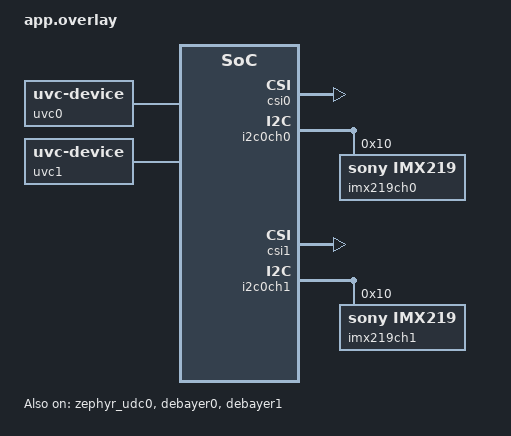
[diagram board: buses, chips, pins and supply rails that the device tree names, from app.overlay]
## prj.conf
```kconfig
CONFIG_MINIMAL_LIBC=y
CONFIG_ASSERT=y
CONFIG_SERIAL=y

# SHELL
CONFIG_SHELL=y
CONFIG_I2C_SHELL=y
CONFIG_VIDEO_SHELL=y
CONFIG_KERNEL_SHELL=y
CONFIG_SHELL_BACKEND_SERIAL_API_INTERRUPT_DRIVEN=y
CONFIG_SHELL_BACKEND_SERIAL_TX_RING_BUFFER_SIZE=64

# USB
CONFIG_UDC_DRIVER=y
CONFIG_USB_DEVICE_STACK_NEXT=y
CONFIG_USBD_VIDEO_CLASS=y

# VIDEO
CONFIG_VIDEO=y
CONFIG_VIDEO_BUFFER_POOL_SZ_MAX=4096
CONFIG_VIDEO_BUFFER_POOL_NUM_MAX=1

# I2C
# To support both addon adapter boards with the same firmware.
CONFIG_I2C_PCA9542A_IGNORE_FAILURE=y

# LOG
CONFIG_LOG=y
CONFIG_LOG_MODE_MINIMAL=y
CONFIG_UDC_DRIVER_LOG_LEVEL_INF=y
CONFIG_USBD_LOG_LEVEL_INF=y
CONFIG_USBD_VIDEO_LOG_LEVEL_INF=y
CONFIG_VIDEO_LOG_LEVEL_DBG=y
```

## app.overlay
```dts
/*
 * Copyright (c) 2025 tinyVision.ai Inc.
 *
 * SPDX-License-Identifier: Apache-2.0
 */

#include <riscv/tinyvision/from_csi0_to_stats0.dtsi>
#include <riscv/tinyvision/from_csi0_to_debayer0.dtsi>
#include <riscv/tinyvision/from_debayer0_to_uvcmanager0.dtsi>

#include <riscv/tinyvision/from_csi1_to_stats1.dtsi>
#include <riscv/tinyvision/from_csi1_to_debayer1.dtsi>
#include <riscv/tinyvision/from_debayer1_to_uvcmanager1.dtsi>

#include <riscv/tinyvision/add_i2c0_pll.dtsi>
#include <riscv/tinyvision/add_i2c0_multiplexer.dtsi>

/* USB interfaces */

&zephyr_udc0 {
	num-in-endpoints = <3>;
	num-out-endpoints = <1>;
	status = "okay";

	uvc0: uvc0 {
		compatible = "zephyr,uvc-device";
		interface-name = "tinyCLUNX33-IMX219-Top";
	};

	uvc1: uvc1 {
		compatible = "zephyr,uvc-device";
		interface-name = "tinyCLUNX33-IMX219-Bottom";
	};
};

&uvcmanager0 {
	usb-endpoint = <0x81>;
};

&uvcmanager1 {
	usb-endpoint = <0x82>;
};

/* Camera 0 config */

&debayer0 {
	status = "okay";
};

&csi0 {
	status = "okay";
};

&csi0_ep_in {
	remote-endpoint-label = "imx219ch0_ep_out";
};

&i2c0ch0 {
	imx219ch0@10 {
		compatible = "sony,imx219";
		reg = <0x10>;

		port {
			imx219ch0_ep_out: endpoint {
				remote-endpoint-label = "csi0_ep_in";
			};
		};
	};
};

/* Camera 1 config */

&debayer1 {
	status = "okay";
};

&csi1 {
	status = "okay";
};

&csi1_ep_in {
	remote-endpoint-label = "imx219ch1_ep_out";
};

&i2c0ch1 {
	imx219ch1@10 {
		compatible = "sony,imx219";
		reg = <0x10>;

		port {
			imx219ch1_ep_out: endpoint {
				remote-endpoint-label = "csi1_ep_in";
			};
		};
	};
};
```

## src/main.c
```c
#include <zephyr/drivers/video.h>
#include <zephyr/drivers/video-controls.h>
#include <zephyr/usb/class/usbd_uvc.h>
#include <zephyr/logging/log.h>

LOG_MODULE_REGISTER(app_main, LOG_LEVEL_INF);

static const struct device *const uvc0_dev = DEVICE_DT_GET(DT_NODELABEL(uvc0));
static const struct device *const uvcmanager0_dev = DEVICE_DT_GET(DT_NODELABEL(uvcmanager0));
K_THREAD_STACK_DEFINE(thread0_stack, 1024);
struct k_thread thread0_data;

static const struct device *const uvc1_dev = DEVICE_DT_GET(DT_NODELABEL(uvc1));
static const struct device *const uvcmanager1_dev = DEVICE_DT_GET(DT_NODELABEL(uvcmanager1));
K_THREAD_STACK_DEFINE(thread1_stack, 1024);
struct k_thread thread1_data;

#define APP_THREAD_PRIORITY 5

int app_usb_init(void);

static void app_thread_main(void *p0, void *p1, void *p2)
{
	const struct device *uvc_dev = p0;
	const struct device *video_dev = p1;
	struct video_format fmt = {0};
	int ret;

	/* Get the video format once it is selected by the host */
	while (true) {
		ret = video_get_format(uvc_dev, VIDEO_EP_IN, &fmt);
		if (ret == 0) {
			break;
		}
		if (ret != -EAGAIN) {
			LOG_ERR("Failed to get the video format");
			return;
		}

		k_sleep(K_MSEC(10));
	}

	ret = video_stream_start(video_dev);
	if (ret != 0) {
		LOG_ERR("Failed to start %s", video_dev->name);
		return;
	}

	LOG_INF("Done, exiting and letting the USB stack run");
}

int main(const struct device *uvc_dev, const struct device *uvcmanager_dev)
{
	int ret;

	uvc_set_video_dev(uvc0_dev, uvcmanager0_dev);
	uvc_set_video_dev(uvc1_dev, uvcmanager1_dev);

	ret = app_usb_init();
	if (ret != 0) {
		LOG_ERR("Failed to initialize USB");
		return ret;
	}

	k_thread_create(&thread0_data, thread0_stack, K_THREAD_STACK_SIZEOF(thread0_stack),
                        app_thread_main, (void *)uvc0_dev, (void *)uvcmanager0_dev, NULL,
			APP_THREAD_PRIORITY, 0, K_NO_WAIT);

	k_thread_create(&thread1_data, thread1_stack, K_THREAD_STACK_SIZEOF(thread1_stack),
                        app_thread_main, (void *)uvc1_dev, (void *)uvcmanager1_dev, NULL,
			APP_THREAD_PRIORITY, 0, K_NO_WAIT);

	return 0;
}
```
